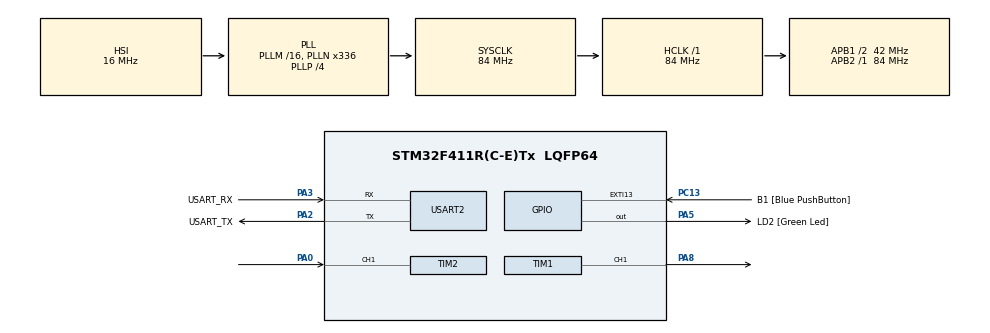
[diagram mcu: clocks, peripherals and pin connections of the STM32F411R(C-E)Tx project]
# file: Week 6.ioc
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Dma.Request0=TIM2_CH1
Dma.TIM2_CH1.0.Direction=DMA_PERIPH_TO_MEMORY
Dma.TIM2_CH1.0.FIFOMode=DMA_FIFOMODE_DISABLE
Dma.TIM2_CH1.0.Instance=DMA1_Stream5
Dma.TIM2_CH1.0.MemDataAlignment=DMA_MDATAALIGN_WORD
Dma.TIM2_CH1.0.MemInc=DMA_MINC_ENABLE
Dma.TIM2_CH1.0.Mode=DMA_CIRCULAR
Dma.TIM2_CH1.0.PeriphDataAlignment=DMA_PDATAALIGN_WORD
Dma.TIM2_CH1.0.PeriphInc=DMA_PINC_DISABLE
Dma.TIM2_CH1.0.Priority=DMA_PRIORITY_LOW
Mcu.Family=STM32F4
Mcu.Name=STM32F411R(C-E)Tx
Mcu.Package=LQFP64
NVIC.DMA1_Stream5_IRQn=true\:0\:0\:false\:false\:true\:false\:true\:true
NVIC.PriorityGroup=NVIC_PRIORITYGROUP_0
PA0-WKUP.Signal=S_TIM2_CH1_ETR
PA13.GPIO_Label=TMS
PA13.Mode=Serial_Wire
PA13.Signal=SYS_JTMS-SWDIO
PA14.GPIO_Label=TCK
PA14.Mode=Serial_Wire
PA14.Signal=SYS_JTCK-SWCLK
PA2.GPIO_Label=USART_TX
PA2.Mode=Asynchronous
PA2.Signal=USART2_TX
PA3.GPIO_Label=USART_RX
PA3.Mode=Asynchronous
PA3.Signal=USART2_RX
PA5.GPIO_Label=LD2 [Green Led]
PA5.Signal=GPIO_Output
PA8.Signal=S_TIM1_CH1
PB3.GPIO_Label=SWO
PB3.Signal=SYS_JTDO-SWO
PC13-ANTI_TAMP.GPIO_Label=B1 [Blue PushButton]
PC13-ANTI_TAMP.GPIO_ModeDefaultEXTI=GPIO_MODE_IT_FALLING
PC13-ANTI_TAMP.Signal=GPXTI13
PC14-OSC32_IN.Mode=LSE-External-Oscillator
PC14-OSC32_IN.Signal=RCC_OSC32_IN
PC15-OSC32_OUT.Mode=LSE-External-Oscillator
PC15-OSC32_OUT.Signal=RCC_OSC32_OUT
PH0\ -\ OSC_IN.Mode=HSE-External-Clock-Source
PH0\ -\ OSC_IN.Signal=RCC_OSC_IN
PH1\ -\ OSC_OUT.Mode=HSE-External-Clock-Source
PH1\ -\ OSC_OUT.Signal=RCC_OSC_OUT
ProjectManager.HeapSize=0x200
ProjectManager.StackSize=0x400
ProjectManager.TargetToolchain=STM32CubeIDE
RCC.48MHZClocksFreq_Value=84000000
RCC.AHBFreq_Value=84000000
RCC.APB1CLKDivider=RCC_HCLK_DIV2
RCC.APB1Freq_Value=42000000
RCC.APB1TimFreq_Value=84000000
RCC.APB2Freq_Value=84000000
RCC.APB2TimFreq_Value=84000000
RCC.CortexFreq_Value=84000000
RCC.FLatency-AdvancedSettings=FLASH_LATENCY_2
RCC.HCLKFreq_Value=84000000
RCC.HSE_VALUE=8000000
RCC.HSI_VALUE=16000000
RCC.PLLN=336
RCC.PLLP=RCC_PLLP_DIV4
RCC.SYSCLKFreq_VALUE=84000000
RCC.SYSCLKSource=RCC_SYSCLKSOURCE_PLLCLK
RCC.VCOOutputFreq_Value=336000000
SH.S_TIM1_CH1.0=TIM1_CH1,PWM Generation1 CH1
SH.S_TIM2_CH1_ETR.0=TIM2_CH1,Input_Capture1_from_TI1
TIM1.Channel-PWM\ Generation1\ CH1=TIM_CHANNEL_1
TIM1.Period=1000
TIM1.Prescaler=83
TIM1.Pulse-PWM\ Generation1\ CH1=500
TIM2.Channel-Input_Capture1_from_TI1=TIM_CHANNEL_1
TIM2.Prescaler=83
USART2.VirtualMode=VM_ASYNC
VP_TIM1_VS_ClockSourceINT.Mode=Internal
VP_TIM2_VS_ClockSourceINT.Mode=Internal
board=NUCLEO-F411RE

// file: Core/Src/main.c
/* USER CODE BEGIN Header */
/**
  ******************************************************************************
  * @file           : main.c
  * @brief          : Main program body
  ******************************************************************************
  * @attention
  *
  * Copyright (c) 2023 STMicroelectronics.
  * All rights reserved.
  *
  * This software is licensed under terms that can be found in the LICENSE file
  * in the root directory of this software component.
  * If no LICENSE file comes with this software, it is provided AS-IS.
  *
  ******************************************************************************
  */
/* USER CODE END Header */
#include "main.h"

/* USER CODE BEGIN Includes */
#define IC_BUFFER_SIZE 20
/* USER CODE END Includes */

TIM_HandleTypeDef htim1;
TIM_HandleTypeDef htim2;
DMA_HandleTypeDef hdma_tim2_ch1;

UART_HandleTypeDef huart2;

/* USER CODE BEGIN PV */
uint32_t InputCaptureBuffer[IC_BUFFER_SIZE];
float averageRisingedgePeriod;
uint32_t duty = 500;
uint32_t MotorSetDuty = 0;
float MotorSetRPM = 0;
uint32_t MotorReadRPM = 0;
uint32_t MotorControlEnable = 0;
float overRPM = 0;
/* USER CODE END PV */

void SystemClock_Config(void);
static void MX_GPIO_Init(void);
static void MX_DMA_Init(void);
static void MX_USART2_UART_Init(void);
static void MX_TIM2_Init(void);
static void MX_TIM1_Init(void);
/* USER CODE BEGIN PFP */
float IC_Calc_Period();
/* USER CODE END PFP */

int main(void)
{

  /* MCU Configuration--------------------------------------------------------*/

  /* Reset of all peripherals, Initializes the Flash interface and the Systick. */
  HAL_Init();

  /* Configure the system clock */
  SystemClock_Config();

  /* Initialize all configured peripherals */
  MX_GPIO_Init();
  MX_DMA_Init();
  MX_USART2_UART_Init();
  MX_TIM2_Init();
  MX_TIM1_Init();
  /* USER CODE BEGIN 2 */
HAL_TIM_Base_Start(&htim2);
HAL_TIM_IC_Start_DMA(&htim2, TIM_CHANNEL_1, InputCaptureBuffer, IC_BUFFER_SIZE);

HAL_TIM_Base_Start(&htim1);
HAL_TIM_PWM_Start(&htim1 , TIM_CHANNEL_1);
  /* USER CODE END 2 */

  /* Infinite loop */
  while (1)
  {

    /* USER CODE BEGIN 3 */
	  static uint32_t timestamp = 0;
	  if (HAL_GetTick() >= timestamp)
	  {
		  timestamp = HAL_GetTick()+500;
		  averageRisingedgePeriod = IC_Calc_Period();
		  MotorReadRPM = 60/(averageRisingedgePeriod*0.000001*64*12);
		  		  switch(MotorControlEnable)
		  		  {
		  		  	  case 0:
		  		  		  __HAL_TIM_SET_COMPARE(&htim1,TIM_CHANNEL_1,MotorSetDuty*10); // *10 cause duty to Timer compare value
		  		  		  overRPM = 0; // reset
		  		  		  break;
		  		  	  case 1:
		  		  		  if(MotorSetRPM < MotorReadRPM && MotorSetDuty+overRPM >= 0)
		  		  		  {
		  		  			  overRPM = overRPM - 1;
		  		  		  }
		  		  		  else if(MotorSetRPM > MotorReadRPM && MotorSetDuty+overRPM <= 100)
		  		  		  {
		  		  			  overRPM = overRPM + 1;
		  		  		  }
		  		  		  __HAL_TIM_SET_COMPARE(&htim1,TIM_CHANNEL_1,(MotorSetDuty+overRPM)*10);
		  		  		  break;
		  		  }

	  }

  }
  /* USER CODE END 3 */
}

void SystemClock_Config(void)
{
  RCC_OscInitTypeDef RCC_OscInitStruct = {0};
  RCC_ClkInitTypeDef RCC_ClkInitStruct = {0};

  /** Configure the main internal regulator output voltage
  */
  __HAL_RCC_PWR_CLK_ENABLE();
  __HAL_PWR_VOLTAGESCALING_CONFIG(PWR_REGULATOR_VOLTAGE_SCALE1);

  /** Initializes the RCC Oscillators according to the specified parameters
  * in the RCC_OscInitTypeDef structure.
  */
  RCC_OscInitStruct.OscillatorType = RCC_OSCILLATORTYPE_HSI;
  RCC_OscInitStruct.HSIState = RCC_HSI_ON;
  RCC_OscInitStruct.HSICalibrationValue = RCC_HSICALIBRATION_DEFAULT;
  RCC_OscInitStruct.PLL.PLLState = RCC_PLL_ON;
  RCC_OscInitStruct.PLL.PLLSource = RCC_PLLSOURCE_HSI;
  RCC_OscInitStruct.PLL.PLLM = 16;
  RCC_OscInitStruct.PLL.PLLN = 336;
  RCC_OscInitStruct.PLL.PLLP = RCC_PLLP_DIV4;
  RCC_OscInitStruct.PLL.PLLQ = 4;
  if (HAL_RCC_OscConfig(&RCC_OscInitStruct) != HAL_OK)
  {
    Error_Handler();
  }

  /** Initializes the CPU, AHB and APB buses clocks
  */
  RCC_ClkInitStruct.ClockType = RCC_CLOCKTYPE_HCLK|RCC_CLOCKTYPE_SYSCLK
                              |RCC_CLOCKTYPE_PCLK1|RCC_CLOCKTYPE_PCLK2;
  RCC_ClkInitStruct.SYSCLKSource = RCC_SYSCLKSOURCE_PLLCLK;
  RCC_ClkInitStruct.AHBCLKDivider = RCC_SYSCLK_DIV1;
  RCC_ClkInitStruct.APB1CLKDivider = RCC_HCLK_DIV2;
  RCC_ClkInitStruct.APB2CLKDivider = RCC_HCLK_DIV1;

  if (HAL_RCC_ClockConfig(&RCC_ClkInitStruct, FLASH_LATENCY_2) != HAL_OK)
  {
    Error_Handler();
  }
}

static void MX_TIM1_Init(void)
{

  TIM_ClockConfigTypeDef sClockSourceConfig = {0};
  TIM_MasterConfigTypeDef sMasterConfig = {0};
  TIM_OC_InitTypeDef sConfigOC = {0};
  TIM_BreakDeadTimeConfigTypeDef sBreakDeadTimeConfig = {0};

  htim1.Instance = TIM1;
  htim1.Init.Prescaler = 83;
  htim1.Init.CounterMode = TIM_COUNTERMODE_UP;
  htim1.Init.Period = 1000;
  htim1.Init.ClockDivision = TIM_CLOCKDIVISION_DIV1;
  htim1.Init.RepetitionCounter = 0;
  htim1.Init.AutoReloadPreload = TIM_AUTORELOAD_PRELOAD_DISABLE;
  if (HAL_TIM_Base_Init(&htim1) != HAL_OK)
  {
    Error_Handler();
  }
  sClockSourceConfig.ClockSource = TIM_CLOCKSOURCE_INTERNAL;
  if (HAL_TIM_ConfigClockSource(&htim1, &sClockSourceConfig) != HAL_OK)
  {
    Error_Handler();
  }
  if (HAL_TIM_PWM_Init(&htim1) != HAL_OK)
  {
    Error_Handler();
  }
  sMasterConfig.MasterOutputTrigger = TIM_TRGO_RESET;
  sMasterConfig.MasterSlaveMode = TIM_MASTERSLAVEMODE_DISABLE;
  if (HAL_TIMEx_MasterConfigSynchronization(&htim1, &sMasterConfig) != HAL_OK)
  {
    Error_Handler();
  }
  sConfigOC.OCMode = TIM_OCMODE_PWM1;
  sConfigOC.Pulse = 500;
  sConfigOC.OCPolarity = TIM_OCPOLARITY_HIGH;
  sConfigOC.OCNPolarity = TIM_OCNPOLARITY_HIGH;
  sConfigOC.OCFastMode = TIM_OCFAST_DISABLE;
  sConfigOC.OCIdleState = TIM_OCIDLESTATE_RESET;
  sConfigOC.OCNIdleState = TIM_OCNIDLESTATE_RESET;
  if (HAL_TIM_PWM_ConfigChannel(&htim1, &sConfigOC, TIM_CHANNEL_1) != HAL_OK)
  {
    Error_Handler();
  }
  sBreakDeadTimeConfig.OffStateRunMode = TIM_OSSR_DISABLE;
  sBreakDeadTimeConfig.OffStateIDLEMode = TIM_OSSI_DISABLE;
  sBreakDeadTimeConfig.LockLevel = TIM_LOCKLEVEL_OFF;
  sBreakDeadTimeConfig.DeadTime = 0;
  sBreakDeadTimeConfig.BreakState = TIM_BREAK_DISABLE;
  sBreakDeadTimeConfig.BreakPolarity = TIM_BREAKPOLARITY_HIGH;
  sBreakDeadTimeConfig.AutomaticOutput = TIM_AUTOMATICOUTPUT_DISABLE;
  if (HAL_TIMEx_ConfigBreakDeadTime(&htim1, &sBreakDeadTimeConfig) != HAL_OK)
  {
    Error_Handler();
  }
  HAL_TIM_MspPostInit(&htim1);

}

static void MX_TIM2_Init(void)
{

  TIM_ClockConfigTypeDef sClockSourceConfig = {0};
  TIM_MasterConfigTypeDef sMasterConfig = {0};
  TIM_IC_InitTypeDef sConfigIC = {0};

  htim2.Instance = TIM2;
  htim2.Init.Prescaler = 83;
  htim2.Init.CounterMode = TIM_COUNTERMODE_UP;
  htim2.Init.Period = 4294967295;
  htim2.Init.ClockDivision = TIM_CLOCKDIVISION_DIV1;
  htim2.Init.AutoReloadPreload = TIM_AUTORELOAD_PRELOAD_DISABLE;
  if (HAL_TIM_Base_Init(&htim2) != HAL_OK)
  {
    Error_Handler();
  }
  sClockSourceConfig.ClockSource = TIM_CLOCKSOURCE_INTERNAL;
  if (HAL_TIM_ConfigClockSource(&htim2, &sClockSourceConfig) != HAL_OK)
  {
    Error_Handler();
  }
  if (HAL_TIM_IC_Init(&htim2) != HAL_OK)
  {
    Error_Handler();
  }
  sMasterConfig.MasterOutputTrigger = TIM_TRGO_RESET;
  sMasterConfig.MasterSlaveMode = TIM_MASTERSLAVEMODE_DISABLE;
  if (HAL_TIMEx_MasterConfigSynchronization(&htim2, &sMasterConfig) != HAL_OK)
  {
    Error_Handler();
  }
  sConfigIC.ICPolarity = TIM_INPUTCHANNELPOLARITY_RISING;
  sConfigIC.ICSelection = TIM_ICSELECTION_DIRECTTI;
  sConfigIC.ICPrescaler = TIM_ICPSC_DIV1;
  sConfigIC.ICFilter = 0;
  if (HAL_TIM_IC_ConfigChannel(&htim2, &sConfigIC, TIM_CHANNEL_1) != HAL_OK)
  {
    Error_Handler();
  }

}

static void MX_USART2_UART_Init(void)
{

  huart2.Instance = USART2;
  huart2.Init.BaudRate = 115200;
  huart2.Init.WordLength = UART_WORDLENGTH_8B;
  huart2.Init.StopBits = UART_STOPBITS_1;
  huart2.Init.Parity = UART_PARITY_NONE;
  huart2.Init.Mode = UART_MODE_TX_RX;
  huart2.Init.HwFlowCtl = UART_HWCONTROL_NONE;
  huart2.Init.OverSampling = UART_OVERSAMPLING_16;
  if (HAL_UART_Init(&huart2) != HAL_OK)
  {
    Error_Handler();
  }

}

static void MX_DMA_Init(void)
{

  /* DMA controller clock enable */
  __HAL_RCC_DMA1_CLK_ENABLE();

  /* DMA interrupt init */
  /* DMA1_Stream5_IRQn interrupt configuration */
  HAL_NVIC_SetPriority(DMA1_Stream5_IRQn, 0, 0);
  HAL_NVIC_EnableIRQ(DMA1_Stream5_IRQn);

}

static void MX_GPIO_Init(void)
{
  GPIO_InitTypeDef GPIO_InitStruct = {0};

  /* GPIO Ports Clock Enable */
  __HAL_RCC_GPIOC_CLK_ENABLE();
  __HAL_RCC_GPIOH_CLK_ENABLE();
  __HAL_RCC_GPIOA_CLK_ENABLE();
  __HAL_RCC_GPIOB_CLK_ENABLE();

  /*Configure GPIO pin Output Level */
  HAL_GPIO_WritePin(LD2_GPIO_Port, LD2_Pin, GPIO_PIN_RESET);

  /*Configure GPIO pin : B1_Pin */
  GPIO_InitStruct.Pin = B1_Pin;
  GPIO_InitStruct.Mode = GPIO_MODE_IT_FALLING;
  GPIO_InitStruct.Pull = GPIO_NOPULL;
  HAL_GPIO_Init(B1_GPIO_Port, &GPIO_InitStruct);

  /*Configure GPIO pin : LD2_Pin */
  GPIO_InitStruct.Pin = LD2_Pin;
  GPIO_InitStruct.Mode = GPIO_MODE_OUTPUT_PP;
  GPIO_InitStruct.Pull = GPIO_NOPULL;
  GPIO_InitStruct.Speed = GPIO_SPEED_FREQ_LOW;
  HAL_GPIO_Init(LD2_GPIO_Port, &GPIO_InitStruct);

}

/* USER CODE BEGIN 4 */
float IC_Calc_Period()
{
	uint32_t currentDMAPointer  = IC_BUFFER_SIZE - __HAL_DMA_GET_COUNTER((htim2.hdma[1]));

	uint32_t lastValidDMAPointer = (currentDMAPointer-1 + IC_BUFFER_SIZE) % IC_BUFFER_SIZE;

	uint32_t i = (lastValidDMAPointer + IC_BUFFER_SIZE - 5) % IC_BUFFER_SIZE;

	int32_t sumdiff = 0;
	while (i != lastValidDMAPointer)
	{
		uint32_t firstCapture = InputCaptureBuffer[i];

		uint32_t NextCapture = InputCaptureBuffer[(i+1)%IC_BUFFER_SIZE];
		sumdiff += NextCapture - firstCapture;
		i = (i+1) % IC_BUFFER_SIZE;
	}
	return sumdiff / 5.0;
}
/* USER CODE END 4 */

void Error_Handler(void)
{
  __disable_irq();
  while (1)
  {
  }
}
